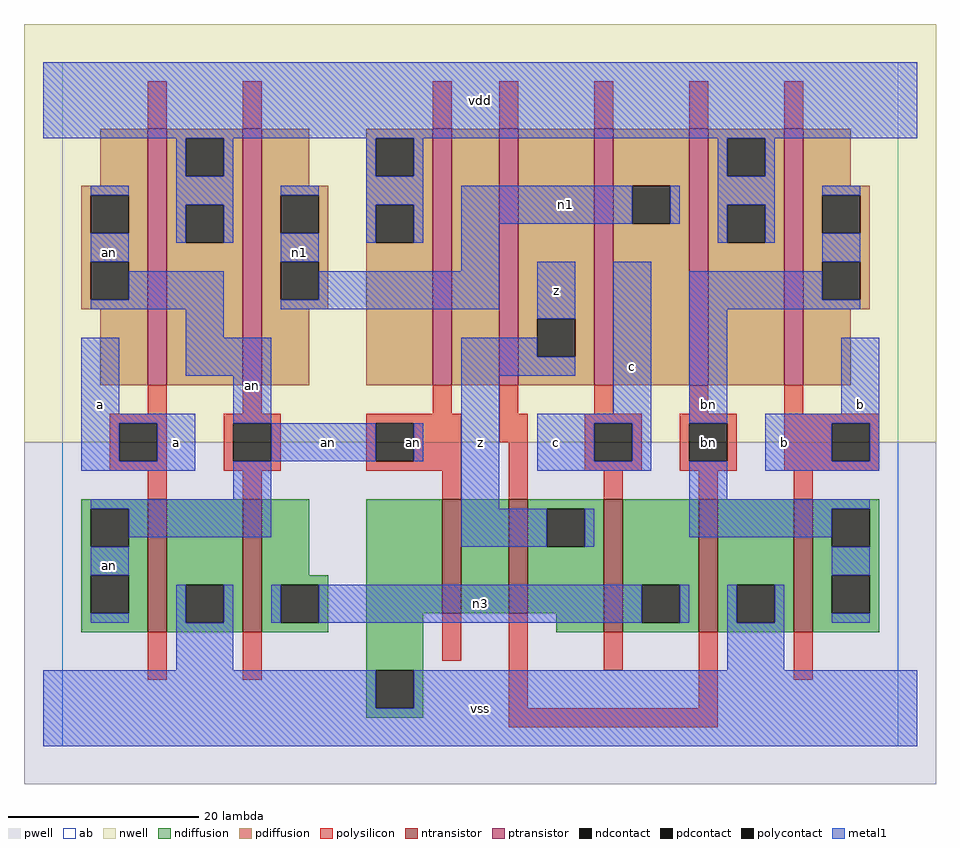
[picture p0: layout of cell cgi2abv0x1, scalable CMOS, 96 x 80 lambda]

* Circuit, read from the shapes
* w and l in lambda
.subckt cgi2abv0x1 a an b bn c n1 n3 vdd vss z
M1 vss a an VSUBS nfet w=14 l=2
M2 n3 an vss VSUBS nfet w=14 l=2
M3 n2 an vss VSUBS nfet w=12 l=2
M4 z bn n2 VSUBS nfet w=12 l=2
M5 n3 c z VSUBS nfet w=14 l=2
M6 vss bn n3 VSUBS nfet w=14 l=2
M7 bn b vss VSUBS nfet w=14 l=2
M8 vdd a an n4 pfet w=27 l=2
M9 n1 an vdd n4 pfet w=27 l=2
M10 n5 an vdd n4 pfet w=27 l=2
M11 z bn n5 n4 pfet w=27 l=2
M12 n1 c z n4 pfet w=27 l=2
M13 vdd bn n1 n4 pfet w=27 l=2
M14 bn b vdd n4 pfet w=27 l=2
.ends

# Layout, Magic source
magic
tech scmos
<< ab >>
rect 0 0 88 72
<< pwell >>
rect -4 -4 92 32
<< nwell >>
rect -4 32 92 76
<< polysilicon >>
rect 9 65 11 70
rect 19 65 21 70
rect 39 65 41 70
rect 46 65 48 70
rect 56 65 58 70
rect 66 65 68 70
rect 76 65 78 70
rect 9 35 11 38
rect 19 35 21 38
rect 39 35 41 38
rect 46 35 48 38
rect 56 35 58 38
rect 66 35 68 38
rect 76 35 78 38
rect 5 34 11 35
rect 5 30 6 34
rect 10 30 11 34
rect 5 29 11 30
rect 17 34 23 35
rect 17 30 18 34
rect 22 30 23 34
rect 17 29 23 30
rect 32 34 42 35
rect 32 30 33 34
rect 37 30 42 34
rect 46 32 49 35
rect 32 29 42 30
rect 9 26 11 29
rect 19 26 21 29
rect 40 26 42 29
rect 47 26 49 32
rect 55 34 61 35
rect 55 30 56 34
rect 60 30 61 34
rect 55 29 61 30
rect 65 34 71 35
rect 65 30 66 34
rect 70 30 71 34
rect 65 29 71 30
rect 76 34 86 35
rect 76 30 81 34
rect 85 30 86 34
rect 76 29 86 30
rect 57 26 59 29
rect 67 26 69 29
rect 77 26 79 29
rect 9 7 11 12
rect 19 7 21 12
rect 40 9 42 14
rect 47 4 49 14
rect 57 8 59 12
rect 67 4 69 12
rect 77 7 79 12
rect 47 2 69 4
<< ndiffusion >>
rect 2 25 9 26
rect 2 21 3 25
rect 7 21 9 25
rect 2 18 9 21
rect 2 14 3 18
rect 7 14 9 18
rect 2 12 9 14
rect 11 17 19 26
rect 11 13 13 17
rect 17 13 19 17
rect 11 12 19 13
rect 21 18 26 26
rect 21 17 28 18
rect 21 13 23 17
rect 27 13 28 17
rect 21 12 28 13
rect 32 14 40 26
rect 42 14 47 26
rect 49 25 57 26
rect 49 21 51 25
rect 55 21 57 25
rect 49 14 57 21
rect 32 8 38 14
rect 32 4 33 8
rect 37 4 38 8
rect 32 3 38 4
rect 52 12 57 14
rect 59 17 67 26
rect 59 13 61 17
rect 65 13 67 17
rect 59 12 67 13
rect 69 17 77 26
rect 69 13 71 17
rect 75 13 77 17
rect 69 12 77 13
rect 79 25 86 26
rect 79 21 81 25
rect 85 21 86 25
rect 79 18 86 21
rect 79 14 81 18
rect 85 14 86 18
rect 79 12 86 14
<< pdiffusion >>
rect 4 59 9 65
rect 2 58 9 59
rect 2 54 3 58
rect 7 54 9 58
rect 2 51 9 54
rect 2 47 3 51
rect 7 47 9 51
rect 2 46 9 47
rect 4 38 9 46
rect 11 64 19 65
rect 11 60 13 64
rect 17 60 19 64
rect 11 57 19 60
rect 11 53 13 57
rect 17 53 19 57
rect 11 38 19 53
rect 21 59 26 65
rect 32 64 39 65
rect 32 60 33 64
rect 37 60 39 64
rect 21 58 28 59
rect 21 54 23 58
rect 27 54 28 58
rect 21 51 28 54
rect 21 47 23 51
rect 27 47 28 51
rect 21 46 28 47
rect 32 57 39 60
rect 32 53 33 57
rect 37 53 39 57
rect 21 38 26 46
rect 32 38 39 53
rect 41 38 46 65
rect 48 45 56 65
rect 48 41 50 45
rect 54 41 56 45
rect 48 38 56 41
rect 58 59 66 65
rect 58 55 60 59
rect 64 55 66 59
rect 58 38 66 55
rect 68 64 76 65
rect 68 60 70 64
rect 74 60 76 64
rect 68 57 76 60
rect 68 53 70 57
rect 74 53 76 57
rect 68 38 76 53
rect 78 59 83 65
rect 78 58 85 59
rect 78 54 80 58
rect 84 54 85 58
rect 78 51 85 54
rect 78 47 80 51
rect 84 47 85 51
rect 78 46 85 47
rect 78 38 83 46
<< metal1 >>
rect -2 64 90 72
rect 12 60 13 64
rect 17 60 18 64
rect 3 58 7 59
rect 3 51 7 54
rect 12 57 18 60
rect 32 60 33 64
rect 37 60 38 64
rect 12 53 13 57
rect 17 53 18 57
rect 23 58 27 59
rect 23 51 27 54
rect 32 57 38 60
rect 69 60 70 64
rect 74 60 75 64
rect 32 53 33 57
rect 37 53 38 57
rect 42 55 60 59
rect 64 55 65 59
rect 69 57 75 60
rect 7 47 17 50
rect 3 46 17 47
rect 42 50 46 55
rect 69 53 70 57
rect 74 53 75 57
rect 80 58 84 59
rect 80 51 84 54
rect 27 47 46 50
rect 23 46 46 47
rect 13 43 17 46
rect 50 45 54 51
rect 2 35 6 43
rect 13 39 22 43
rect 2 34 14 35
rect 2 30 6 34
rect 10 30 14 34
rect 2 29 14 30
rect 18 34 22 39
rect 42 41 50 43
rect 42 39 54 41
rect 22 30 33 34
rect 37 30 38 34
rect 18 26 22 30
rect 3 25 22 26
rect 7 22 22 25
rect 42 25 46 39
rect 58 35 62 51
rect 50 34 62 35
rect 50 30 56 34
rect 60 30 62 34
rect 50 29 62 30
rect 66 47 80 50
rect 66 46 84 47
rect 66 34 70 46
rect 82 35 86 43
rect 66 26 70 30
rect 74 34 86 35
rect 74 30 81 34
rect 85 30 86 34
rect 74 29 86 30
rect 66 25 85 26
rect 42 21 51 25
rect 55 21 56 25
rect 66 22 81 25
rect 3 18 7 21
rect 81 18 85 21
rect 3 13 7 14
rect 12 13 13 17
rect 17 13 18 17
rect 22 13 23 17
rect 27 13 61 17
rect 65 13 66 17
rect 70 13 71 17
rect 75 13 76 17
rect 81 13 85 14
rect 12 8 18 13
rect 70 8 76 13
rect -2 4 33 8
rect 37 4 90 8
rect -2 0 90 4
<< ntransistor >>
rect 9 12 11 26
rect 19 12 21 26
rect 40 14 42 26
rect 47 14 49 26
rect 57 12 59 26
rect 67 12 69 26
rect 77 12 79 26
<< ptransistor >>
rect 9 38 11 65
rect 19 38 21 65
rect 39 38 41 65
rect 46 38 48 65
rect 56 38 58 65
rect 66 38 68 65
rect 76 38 78 65
<< polycontact >>
rect 6 30 10 34
rect 18 30 22 34
rect 33 30 37 34
rect 56 30 60 34
rect 66 30 70 34
rect 81 30 85 34
<< ndcontact >>
rect 3 21 7 25
rect 3 14 7 18
rect 13 13 17 17
rect 23 13 27 17
rect 51 21 55 25
rect 33 4 37 8
rect 61 13 65 17
rect 71 13 75 17
rect 81 21 85 25
rect 81 14 85 18
<< pdcontact >>
rect 3 54 7 58
rect 3 47 7 51
rect 13 60 17 64
rect 13 53 17 57
rect 33 60 37 64
rect 23 54 27 58
rect 23 47 27 51
rect 33 53 37 57
rect 50 41 54 45
rect 60 55 64 59
rect 70 60 74 64
rect 70 53 74 57
rect 80 54 84 58
rect 80 47 84 51
<< labels >>
rlabel polysilicon 20 38 20 38 6 an
rlabel polysilicon 37 32 37 32 6 an
rlabel polycontact 68 32 68 32 6 bn
rlabel metal1 5 19 5 19 6 an
rlabel metal1 12 32 12 32 6 a
rlabel metal1 4 36 4 36 6 a
rlabel metal1 5 52 5 52 6 an
rlabel metal1 28 32 28 32 6 an
rlabel metal1 25 52 25 52 6 n1
rlabel metal1 44 4 44 4 6 vss
rlabel metal1 44 15 44 15 6 n3
rlabel metal1 44 32 44 32 6 z
rlabel metal1 52 32 52 32 6 c
rlabel metal1 60 40 60 40 6 c
rlabel metal1 52 48 52 48 6 z
rlabel metal1 53 57 53 57 6 n1
rlabel metal1 44 68 44 68 6 vdd
rlabel metal1 76 32 76 32 6 b
rlabel metal1 84 36 84 36 6 b
rlabel metal1 68 36 68 36 6 bn
<< end >>
